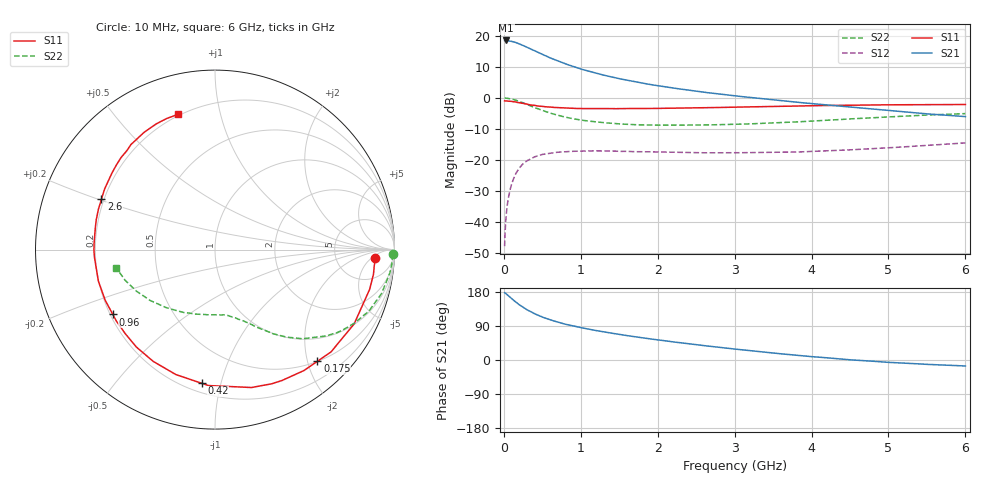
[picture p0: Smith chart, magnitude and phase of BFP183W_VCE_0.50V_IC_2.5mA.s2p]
! Infineon Technologies  Discrete & RF Semiconductors
! BFP183W
! VCE = 0.50V,  IC =  2.5 mA
! Common Emitter S-Parameters:  Jan 2016
# GHz  S  MA  R  50
!  f  S11  S21  S12  S22
! GHz  MAG  ANG  MAG  ANG  MAG  ANG  MAG  ANG
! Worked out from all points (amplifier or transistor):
!   210 points, 10 MHz to 6 GHz, reference 50 ohm
!   highest |S21| = 18.5 dB at 30 MHz (marker M1)
!   |S21| within 3 dB of that: start of sweep to 369.5 MHz
!   unconditionally stable (mu >= 1): 2.018 GHz to end of sweep
!   at 185 MHz: K = 0.12, MSG = 20.4 dB, |S12| = -23.2 dB
!   at 1.52 GHz: K = 0.78, MSG = 11.7 dB, |S12| = -17.2 dB
!   at 6 GHz: K = 1.31, MAG = 0.9 dB, |S12| = -14.5 dB
!   S11 on the Smith chart (normalised r, x): 10 MHz: 15, -7; 175 MHz: 0.50, -2.18; 420 MHz: 0.26, -0.87; 960 MHz: 0.21, -0.28; 2.6 GHz: 0.19, +0.20; 6 GHz: 0.19, +0.75
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0.01  0.8952 -2.9  8.323 177.6  0.0041 87.9  0.9928 -1.5
0.03  0.8936 -8.8  8.393 174.8  0.0127 85.8  0.9885 -4.5
0.1  0.8789 -28.1  8.112 162.3  0.0404 74.0  0.9597 -14.8
0.15  0.8619 -41.4  7.832 153.7  0.0586 66.6  0.9239 -21.7
0.175  0.8443 -47.5  7.6 149.9  0.0661 62.9  0.9003 -24.6
0.2  0.8364 -53.7  7.404 145.9  0.0739 60.0  0.8792 -27.7
0.24  0.8192 -62.9  7.067 140.7  0.0842 55.3  0.8414 -32.1
0.3  0.7948 -75.2  6.53 132.6  0.0969 49.1  0.7848 -37.8
0.42  0.7487 -95.6  5.563 120.4  0.1144 39.0  0.6833 -46.4
0.5  0.7295 -107.4  4.998 113.1  0.1228 34.1  0.6277 -50.9
0.6  0.7117 -118.9  4.41 105.9  0.1288 28.8  0.5693 -55.4
0.8  0.6849 -137.0  3.527 94.4  0.1359 21.6  0.4892 -61.9
0.96  0.6738 -147.6  3.025 87.3  0.1386 17.7  0.4478 -65.8
1.02  0.672 -150.9  2.866 84.7  0.1392 16.4  0.4362 -67.3
1.26  0.6719 -163.1  2.383 75.5  0.1402 12.2  0.4031 -72.3
1.5  0.6698 -172.3  2.035 67.7  0.1376 9.9  0.3806 -77.2
2.02  0.6769 170.7  1.557 52.6  0.1346 7.9  0.3635 -86.9
2.6  0.692 156.1  1.233 37.9  0.1305 8.3  0.366 -98.8
3.1  0.7111 145.1  1.046 26.8  0.131 10.2  0.3786 -109.7
4.1  0.7514 127.1  0.788 7.4  0.1389 15.6  0.4287 -132.7
5.1  0.7738 114.0  0.609 -7.2  0.1596 19.5  0.5005 -153.9
6  0.7812 105.3  0.499 -15.9  0.1882 20.3  0.5585 -169.3
